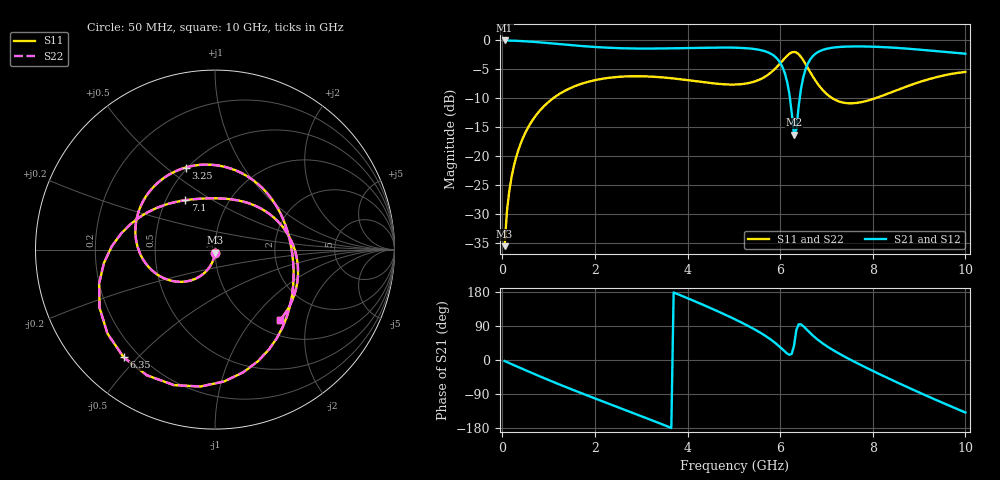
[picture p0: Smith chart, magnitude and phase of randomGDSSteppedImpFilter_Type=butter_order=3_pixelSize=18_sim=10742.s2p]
! freq	dB(S11)	phase(S11)	dB(S12)	phase(S12)
!  dB(S21)	phase(S21)	dB(S22)	phase(S22)
!S-par simulation data
#  GHz  S  DB  R 50
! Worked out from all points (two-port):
!   200 points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, 50 MHz to 10 GHz, reference 50 ohm
!   highest |S21| = 0.00 dB at 50 MHz (marker M1); lowest = -16.3 dB at 6.3 GHz (marker M2)
!   |S21| within 3 dB of the highest: start of sweep to 5.915 GHz; 6.677 GHz to end of sweep
!   lowest |S11| = -35.6 dB at 50 MHz (marker M3), VSWR 1.03, Z = 49.9 - j1.66 ohm
!   |S11| at or under -10 dB: start of sweep to 1.098 GHz; 7.127 GHz to 8.054 GHz (927.3 MHz wide, 12.2 % of centre)
!   |S22| runs from -35.6 to -2.0 dB; largest |S21 - S12| = 0
!   S11 on the Smith chart (normalised r, x): 50 MHz: 1.00, -0.03; 3.25 GHz: 0.49, +0.58; 6.35 GHz: 0.14, -0.46; 7.1 GHz: 0.63, +0.38; 10 GHz: 1.27, -1.40
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0.05  -35.59 -92.6  -0.00 -2.7  -0.00 -2.7  -35.59 -92.6
0.2  -23.63 -101.1  -0.04 -10.9  -0.04 -10.9  -23.63 -101.2
0.5  -15.94 -117.4  -0.15 -26.9  -0.15 -26.9  -15.94 -117.4
1.1  -9.99 -148.5  -0.53 -57.9  -0.53 -57.9  -9.99 -148.5
1.75  -7.40 179.9  -0.99 -89.6  -0.99 -89.6  -7.40 179.8
2.45  -6.34 147.2  -1.32 -122.3  -1.32 -122.3  -6.34 147.1
3.25  -6.27 109.7  -1.40 -159.9  -1.40 -159.9  -6.28 109.6
3.4  -6.36 102.5  -1.39 -167.1  -1.39 -167.1  -6.36 102.4
4.2  -7.08 62.8  -1.27 152.8  -1.27 152.8  -7.08 62.6
5.05  -7.62 16.3  -1.26 105.9  -1.26 105.9  -7.62 16.1
5.55  -6.79 -16.8  -1.62 73.6  -1.62 73.6  -6.79 -16.9
5.95  -4.42 -54.9  -3.29 39.3  -3.29 39.3  -4.42 -55.0
6.15  -2.66 -86.0  -7.12 17.2  -7.12 17.2  -2.66 -86.1
6.3  -1.98 -118.4  -16.31 38.3  -16.31 38.3  -1.98 -118.5
6.35  -2.08 -130.3  -15.40 79.4  -15.40 79.4  -2.08 -130.3
6.5  -3.44 -163.6  -6.34 89.2  -6.34 89.2  -3.44 -163.7
6.7  -6.17 163.2  -2.76 65.1  -2.76 65.1  -6.17 163.2
7.1  -9.86 121.1  -1.29 29.3  -1.29 29.3  -9.87 121.0
7.65  -10.81 80.7  -1.04 -7.6  -1.04 -7.6  -10.81 80.7
8.35  -9.13 38.9  -1.20 -49.2  -1.20 -49.2  -9.13 38.8
9.1  -6.97 -1.8  -1.66 -91.1  -1.66 -91.1  -6.97 -1.8
10  -5.45 -47.6  -2.29 -138.6  -2.29 -138.6  -5.45 -47.6
